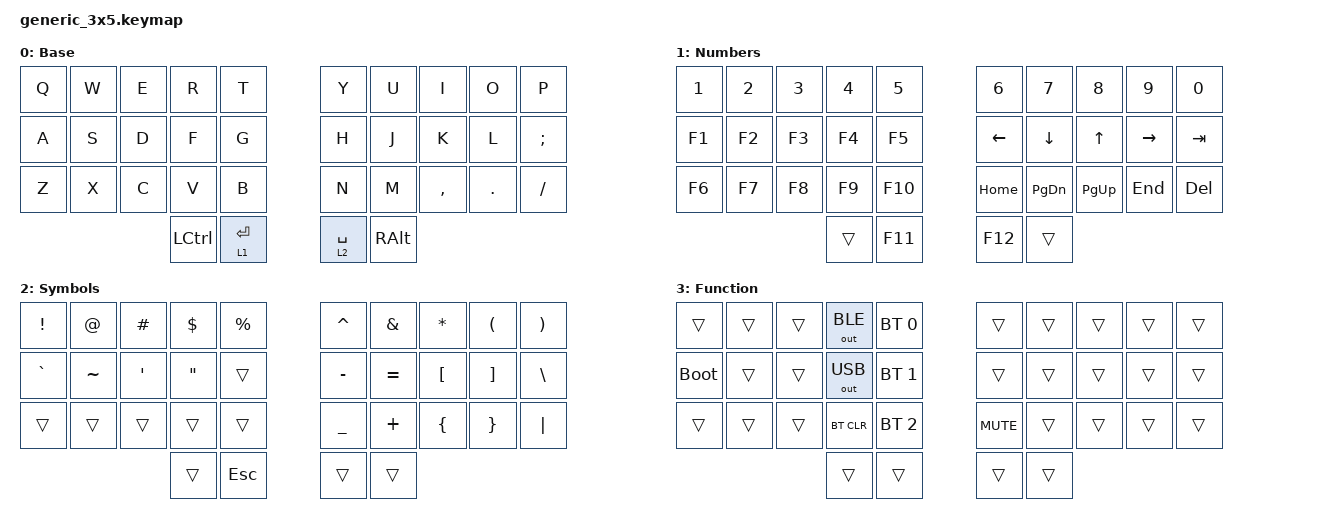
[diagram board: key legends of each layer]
/*
 * Generic 3x5 Keymap
 * Edit this file with keymap-editor, then apply to real boards
 */

/ {
    combos {
        compatible = "zmk,combos";

        combo_unlock {
            timeout-ms = <50>;
            key-positions = <0 4>;
            bindings = <&studio_unlock>;
            layers = <0>;
        };

        // Layer toggle

        combo_fnc {
            timeout-ms = <200>;
            key-positions = <30 33>;
            bindings = <&mo 3>;
        };

        // Invoke macros
        // Media keys

        combo_vol_up {
            timeout-ms = <30>;
            require-prior-idle-ms = <200>;
            bindings = <&kp C_VOL_UP>;
            key-positions = <5 6>;
            layers = <0>;
        };

        // Navigation arrows
        // Shortcuts

        combo_volume_down {
            bindings = <&kp C_VOL_DN>;
            key-positions = <15 16>;
        };

        combo_backspace {
            bindings = <&kp BACKSPACE>;
            key-positions = <8 9>;
        };

        combo_esc {
            bindings = <&kp ESCAPE>;
            key-positions = <0 1>;
        };

        combo_tab {
            bindings = <&kp TAB>;
            key-positions = <10 11>;
        };

        combo_ctrl_z {
            bindings = <&kp LC(Z)>;
            key-positions = <21 20>;
        };

        combo_ctrl_x {
            bindings = <&kp LC(Z)>;
            key-positions = <21 22>;
        };

        combo_ctrl_c {
            bindings = <&kp LC(Z)>;
            key-positions = <22 23>;
        };

        combo_ctrl_v {
            bindings = <&kp LC(Z)>;
            key-positions = <23 24>;
        };

        combo_ctrl_a {
            bindings = <&kp LC(Z)>;
            key-positions = <10 21>;
        };
    };

    keymap {
        compatible = "zmk,keymap";

        base_layer {
            display-name = "Base";
            bindings = <
&kp Q  &kp W  &kp E  &kp R  &kp T                                       &kp Y          &kp U  &kp I      &kp O    &kp P
&kp A  &kp S  &kp D  &kp F  &kp G                                       &kp H          &kp J  &kp K      &kp L    &kp SEMI
&kp Z  &kp X  &kp C  &kp V  &kp B                                       &kp N          &kp M  &kp COMMA  &kp DOT  &kp SLASH
                            &kp LEFT_CONTROL  &lt 1 RET    &lt 2 SPACE  &kp RIGHT_ALT
            >;
        };

        num_layer {
            display-name = "Numbers";
            bindings = <
&kp N1  &kp N2  &kp N3  &kp N4  &kp N5                       &kp N6    &kp N7     &kp N8     &kp N9     &kp N0
&kp F1  &kp F2  &kp F3  &kp F4  &kp F5                       &kp LEFT  &kp DOWN   &kp UP     &kp RIGHT  &kp TAB
&kp F6  &kp F7  &kp F8  &kp F9  &kp F10                      &kp HOME  &kp PG_DN  &kp PG_UP  &kp END    &kp DEL
                                &trans   &kp F11    &kp F12  &trans
            >;
        };

        sym_layer {
            display-name = "Symbols";
            bindings = <
&kp EXCL   &kp AT     &kp HASH  &kp DLLR  &kp PRCNT                     &kp CARET  &kp AMPS   &kp ASTRK  &kp LPAR  &kp RPAR
&kp GRAVE  &kp TILDE  &kp SQT   &kp DQT   &trans                        &kp MINUS  &kp EQUAL  &kp LBKT   &kp RBKT  &kp BSLH
&trans     &trans     &trans    &trans    &trans                        &kp UNDER  &kp PLUS   &kp LBRC   &kp RBRC  &kp PIPE
                                          &trans     &kp ESC    &trans  &trans
            >;
        };

        fnc_layer {
            display-name = "Function";
            bindings = <
&trans       &trans  &trans  &out OUT_BLE  &bt BT_SEL 0                    &trans      &trans  &trans  &trans  &trans
&bootloader  &trans  &trans  &out OUT_USB  &bt BT_SEL 1                    &trans      &trans  &trans  &trans  &trans
&trans       &trans  &trans  &bt BT_CLR    &bt BT_SEL 2                    &kp C_MUTE  &trans  &trans  &trans  &trans
                                           &trans        &trans    &trans  &trans
            >;
        };
    };
};
